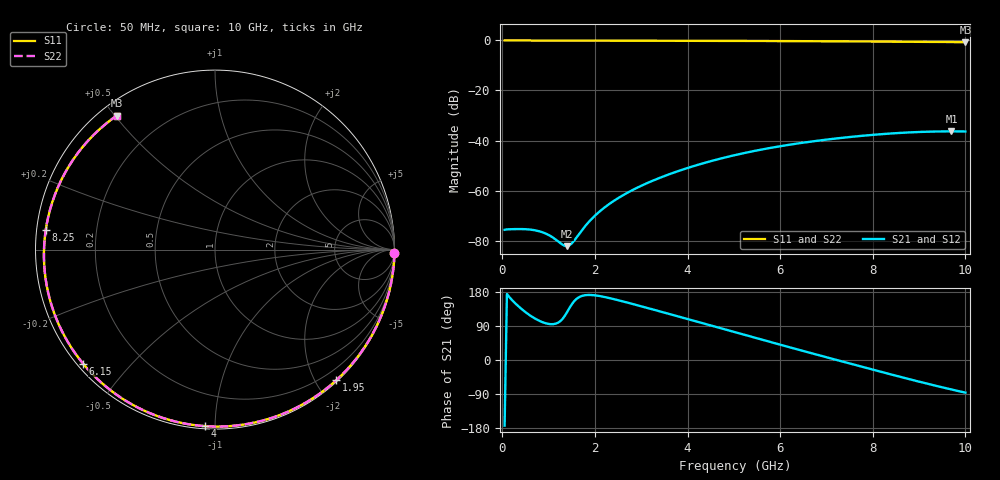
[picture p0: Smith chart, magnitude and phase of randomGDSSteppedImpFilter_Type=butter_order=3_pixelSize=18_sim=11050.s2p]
! freq	dB(S11)	phase(S11)	dB(S12)	phase(S12)
!  dB(S21)	phase(S21)	dB(S22)	phase(S22)
!S-par simulation data
#  GHz  S  DB  R 50
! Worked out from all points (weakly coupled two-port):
!   200 points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, 50 MHz to 10 GHz, reference 50 ohm
!   highest |S21| = -36.34 dB at 9.7 GHz (marker M1); lowest = -82.2 dB at 1.4 GHz (marker M2)
!   lowest |S11| = -0.7 dB at 10 GHz (marker M3), VSWR 25.96, Z = 2.42 + j25.2 ohm
!   |S11| at or under -10 dB: nowhere
!   |S22| runs from -0.7 to 0.0 dB; largest |S21 - S12| = 0
!   S11 on the Smith chart (normalised r, x): 50 MHz: 0, -93; 1.95 GHz: 0.02, -2.29; 4 GHz: 0.01, -0.94; 6.15 GHz: 0.02, -0.37; 8.25 GHz: 0.03, +0.06; 10 GHz: 0.05, +0.50
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0.05  -0.00 -1.2  -75.68 -173.3  -75.68 -173.3  -0.00 -1.2
0.7  -0.02 -17.2  -75.86 109.8  -75.86 109.8  -0.02 -17.2
0.95  -0.03 -23.3  -77.29 96.5  -77.29 96.5  -0.03 -23.3
1.2  -0.04 -29.3  -80.23 98.2  -80.23 98.2  -0.04 -29.3
1.4  -0.04 -34.1  -82.23 126.5  -82.23 126.5  -0.04 -34.1
1.55  -0.05 -37.6  -80.06 154.8  -80.06 154.8  -0.05 -37.6
1.75  -0.05 -42.4  -75.11 170.1  -75.11 170.1  -0.05 -42.4
1.95  -0.06 -47.1  -70.94 171.3  -70.94 171.3  -0.06 -47.1
2.2  -0.07 -52.9  -66.87 166.5  -66.87 166.5  -0.07 -52.9
2.55  -0.08 -61.0  -62.48 156.3  -62.48 156.3  -0.08 -61.0
2.95  -0.09 -70.1  -58.53 143.4  -58.53 143.4  -0.09 -70.1
3.4  -0.11 -80.1  -54.92 128.4  -54.92 128.4  -0.11 -80.1
4  -0.13 -93.3  -50.98 108.2  -50.98 108.2  -0.13 -93.3
5.05  -0.18 -115.8  -45.72 72.5  -45.72 72.5  -0.18 -115.8
6.15  -0.25 -139.2  -41.82 35.3  -41.82 35.3  -0.25 -139.2
6.7  -0.29 -151.0  -40.34 17.1  -40.34 17.1  -0.29 -151.0
7.5  -0.37 -168.8  -38.60 -9.1  -38.60 -9.1  -0.37 -168.8
8.25  -0.45 173.5  -37.37 -33.5  -37.37 -33.5  -0.45 173.5
8.35  -0.46 171.1  -37.24 -36.7  -37.24 -36.7  -0.46 171.1
9.05  -0.55 153.2  -36.55 -58.7  -36.55 -58.7  -0.55 153.2
9.7  -0.63 135.2  -36.34 -77.8  -36.34 -77.8  -0.63 135.2
10  -0.67 126.3  -36.39 -86.1  -36.39 -86.1  -0.67 126.3
